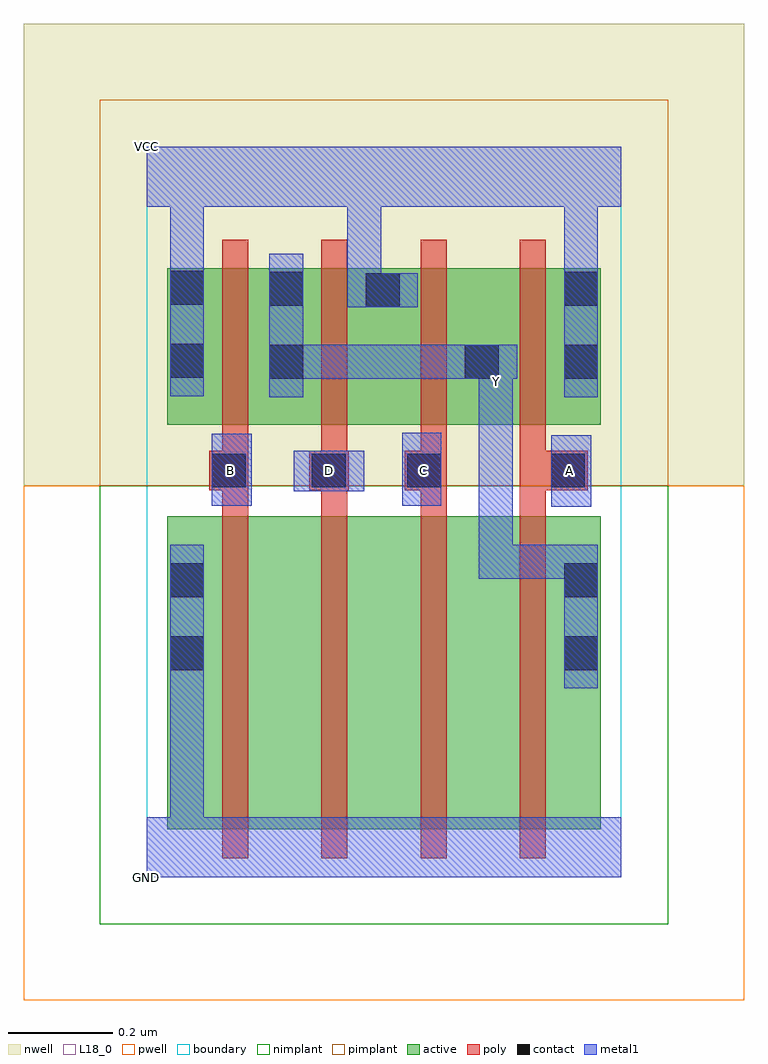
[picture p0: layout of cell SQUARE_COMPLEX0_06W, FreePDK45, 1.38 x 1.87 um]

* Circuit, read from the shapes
.subckt SQUARE_COMPLEX0_06W A B C D GND VCC Y
M1 n1 B GND VSUBS nfet w=0.6u l=0.05u
M2 n2 D n1 VSUBS nfet w=0.6u l=0.05u
M3 n3 C n2 VSUBS nfet w=0.6u l=0.05u
M4 Y A n3 VSUBS nfet w=0.6u l=0.05u
M5 Y B VCC n4 pfet w=0.3u l=0.05u
M6 VCC D Y n4 pfet w=0.3u l=0.05u
M7 Y C VCC n4 pfet w=0.3u l=0.05u
M8 VCC A Y n4 pfet w=0.3u l=0.05u
.ends

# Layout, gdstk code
import gdstk
lib = gdstk.Library(unit=1e-6, precision=1e-09)
def R(c, l, rs):  # rectangles x0, y0, x1, y1
    for r in rs: c.add(gdstk.rectangle(r[:2], r[2:], *l))
def A(c, l, x, y, w, h, nx, ny, dx, dy):  # array of equal rectangles
    R(c, l, [(x+i*dx, y+j*dy, x+i*dx+w, y+j*dy+h) for i in range(nx) for j in range(ny)])
active = (1, 0)
pwell = (2, 0)
nwell = (3, 0)
nimplant = (4, 0)
pimplant = (5, 0)
poly = (9, 0)
contact = (10, 0)
metal1 = (11, 0)
L18_0 = (18, 0)
boundary = (235, 0)

square_complex0_06w = lib.new_cell('SQUARE_COMPLEX0_06W')
R(square_complex0_06w, active, [(0.04,0.092,0.265,0.692), (0.04,0.092,0.115,0.692), (0.265,0.092,0.455,0.692), (0.455,0.092,0.645,0.692), (0.645,0.092,0.87,0.692), (0.795,0.095,0.87,0.692), (0.04,0.867,0.115,1.167), (0.04,0.867,0.305,1.167), (0.23,0.867,0.305,1.167), (0.23,0.867,0.49,1.167), (0.415,0.867,0.68,1.167), (0.605,0.867,0.68,1.167), (0.605,0.867,0.87,1.167), (0.795,0.867,0.87,1.167), (0.415,1.005,0.49,1.167)])
R(square_complex0_06w, pwell, [(-0.235,-0.235,1.145,0.75)])
R(square_complex0_06w, nwell, [(-0.235,0.75,1.145,1.635)])
R(square_complex0_06w, nimplant, [(-0.09,-0.09,1,0.75)])
R(square_complex0_06w, pimplant, [(-0.09,0.75,1,1.49)])
A(square_complex0_06w, poly, 0.145, 0.037, 0.05, 0.71, 4, 1, 0.19, 0)
A(square_complex0_06w, poly, 0.145, 0.697, 0.05, 0.095, 4, 2, 0.19, 0.07)
A(square_complex0_06w, poly, 0.145, 0.812, 0.05, 0.41, 4, 1, 0.19, 0)
R(square_complex0_06w, poly, [(0.12,0.742,0.195,0.817), (0.312,0.742,0.387,0.817), (0.495,0.742,0.575,0.817), (0.715,0.742,0.845,0.817)])
R(square_complex0_06w, contact, [(0.045,0.397,0.11,0.462), (0.8,0.397,0.865,0.462), (0.045,0.537,0.11,0.602), (0.8,0.537,0.865,0.602), (0.125,0.747,0.19,0.812), (0.317,0.747,0.382,0.812), (0.5,0.747,0.565,0.812), (0.775,0.747,0.84,0.812), (0.235,0.955,0.3,1.02), (0.61,0.955,0.675,1.02), (0.8,0.955,0.865,1.02), (0.045,0.957,0.11,1.022), (0.42,1.092,0.485,1.157), (0.235,1.095,0.3,1.16), (0.8,1.095,0.865,1.16), (0.045,1.097,0.11,1.162)])
R(square_complex0_06w, metal1, [(0,0,0.91,0.115), (0.045,0.05,0.11,0.427), (0.045,0.362,0.11,0.637), (0.8,0.362,0.865,0.637), (0.637,0.572,0.702,0.637), (0.637,0.572,0.865,0.637), (0.637,0.572,0.702,0.947), (0.8,0.572,0.865,0.637), (0.8,0.572,0.865,0.637), (0.775,0.71,0.852,0.847), (0.125,0.712,0.202,0.85), (0.49,0.712,0.565,0.852), (0.282,0.74,0.417,0.817), (0.637,0.882,0.702,1.02), (0.235,0.92,0.3,1.195), (0.8,0.92,0.865,1.195), (0.045,0.922,0.11,1.197), (0.235,0.955,0.417,1.02), (0.352,0.955,0.417,1.02), (0.352,0.955,0.437,1.02), (0.372,0.955,0.437,1.02), (0.372,0.955,0.64,1.02), (0.575,0.955,0.64,1.02), (0.575,0.955,0.64,1.02), (0.575,0.955,0.71,1.02), (0.637,0.955,0.702,1.02), (0.385,1.092,0.52,1.157), (0.385,1.092,0.45,1.35), (0.8,1.13,0.865,1.35), (0.045,1.132,0.11,1.197), (0.045,1.132,0.11,1.197), (0.045,1.132,0.11,1.35), (0,1.285,0.91,1.4), (0.385,1.285,0.45,1.35), (0.385,1.285,0.45,1.35), (0.8,1.285,0.865,1.35), (0.8,1.285,0.865,1.35)])
R(square_complex0_06w, L18_0, [(0,0,0.91,0.115), (0.045,0.05,0.11,0.427), (0.045,0.362,0.11,0.637), (0.8,0.362,0.865,0.637), (0.637,0.572,0.702,0.637), (0.637,0.572,0.702,0.947), (0.637,0.572,0.865,0.637), (0.8,0.572,0.865,0.637), (0.8,0.572,0.865,0.637), (0.775,0.71,0.852,0.847), (0.125,0.712,0.202,0.85), (0.49,0.712,0.565,0.852), (0.282,0.74,0.417,0.817), (0.127,0.747,0.192,0.812), (0.317,0.747,0.382,0.812), (0.497,0.747,0.562,0.812), (0.777,0.747,0.842,0.812), (0.637,0.882,0.702,1.02), (0.637,0.917,0.702,0.982), (0.235,0.92,0.3,1.195), (0.8,0.92,0.865,1.195), (0.045,0.922,0.11,1.197), (0.235,0.955,0.417,1.02), (0.352,0.955,0.417,1.02), (0.352,0.955,0.437,1.02), (0.372,0.955,0.437,1.02), (0.372,0.955,0.64,1.02), (0.575,0.955,0.64,1.02), (0.575,0.955,0.64,1.02), (0.575,0.955,0.71,1.02), (0.637,0.955,0.702,1.02), (0.385,1.092,0.52,1.157), (0.385,1.092,0.45,1.35), (0.8,1.13,0.865,1.35), (0.045,1.132,0.11,1.197), (0.045,1.132,0.11,1.197), (0.045,1.132,0.11,1.35), (0,1.285,0.91,1.4), (0.385,1.285,0.45,1.35), (0.385,1.285,0.45,1.35), (0.8,1.285,0.865,1.35), (0.8,1.285,0.865,1.35)])
R(square_complex0_06w, boundary, [(0,0,0.91,1.4)])
square_complex0_06w.add(gdstk.Label('A', (0.81,0.78), layer=11, texttype=0))
square_complex0_06w.add(gdstk.Label('B', (0.16,0.78), layer=11, texttype=0))
square_complex0_06w.add(gdstk.Label('C', (0.53,0.78), layer=11, texttype=0))
square_complex0_06w.add(gdstk.Label('D', (0.35,0.78), layer=11, texttype=0))
square_complex0_06w.add(gdstk.Label('Y', (0.67,0.95), layer=11, texttype=0))
square_complex0_06w.add(gdstk.Label('VCC', (0,1.4), layer=11, texttype=0))
square_complex0_06w.add(gdstk.Label('GND', (0,0), layer=11, texttype=0))

lib.write_gds('SQUARE_COMPLEX0_06W.gds')
